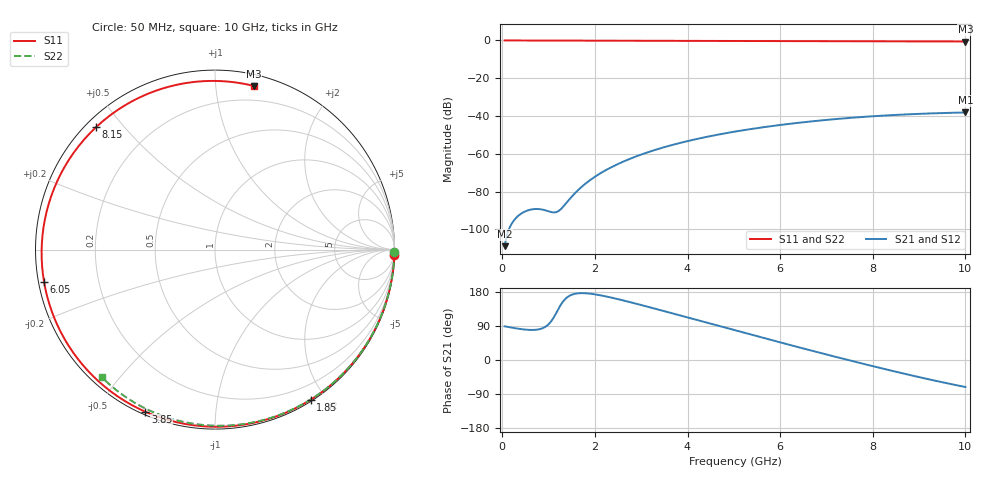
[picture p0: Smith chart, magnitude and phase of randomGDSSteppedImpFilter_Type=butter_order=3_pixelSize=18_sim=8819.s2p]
! freq	dB(S11)	phase(S11)	dB(S12)	phase(S12)
!  dB(S21)	phase(S21)	dB(S22)	phase(S22)
!S-par simulation data
#  GHz  S  DB  R 50
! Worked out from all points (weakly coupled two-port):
!   200 points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, 50 MHz to 10 GHz, reference 50 ohm
!   highest |S21| = -38.10 dB at 10 GHz (marker M1); lowest = -108.9 dB at 50 MHz (marker M2)
!   lowest |S11| = -0.6 dB at 10 GHz (marker M3), VSWR 30.82, Z = 4.2 + j63 ohm
!   |S11| at or under -10 dB: nowhere
!   |S22| runs from -0.4 to 0.0 dB; largest |S21 - S12| = 0
!   S11 on the Smith chart (normalised r, x): 50 MHz: 0, -71; 1.85 GHz: 0.02, -1.82; 3.85 GHz: 0.01, -0.66; 6.05 GHz: 0.02, -0.09; 8.15 GHz: 0.03, +0.42; 10 GHz: 0.08, +1.26
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0.05  -0.00 -1.6  -108.86 89.0  -108.86 89.0  -0.00 -0.8
0.8  -0.03 -25.4  -89.26 81.2  -89.26 81.2  -0.02 -12.1
1.6  -0.06 -50.0  -80.07 175.4  -80.07 175.4  -0.03 -24.0
1.75  -0.07 -54.5  -76.70 176.4  -76.70 176.4  -0.03 -26.2
1.85  -0.07 -57.5  -74.74 175.6  -74.74 175.6  -0.04 -27.7
2.15  -0.08 -66.3  -69.83 170.0  -69.83 170.0  -0.04 -32.1
2.5  -0.09 -76.4  -65.35 160.5  -65.35 160.5  -0.05 -37.1
2.95  -0.11 -89.0  -60.81 146.7  -60.81 146.7  -0.06 -43.6
3.4  -0.13 -101.3  -57.17 132.1  -57.17 132.1  -0.07 -49.9
3.85  -0.15 -113.2  -54.16 117.2  -54.16 117.2  -0.08 -56.1
4.4  -0.17 -127.5  -51.09 98.9  -51.09 98.9  -0.09 -63.6
5.05  -0.21 -144.0  -48.13 77.4  -48.13 77.4  -0.11 -72.2
5.55  -0.24 -156.7  -46.22 61.0  -46.22 61.0  -0.13 -78.7
6.05  -0.27 -169.4  -44.57 44.8  -44.57 44.8  -0.15 -85.0
6.7  -0.32 173.9  -42.77 24.0  -42.77 24.0  -0.18 -93.1
7.4  -0.38 155.2  -41.19 2.1  -41.19 2.1  -0.22 -101.5
8.15  -0.44 134.1  -39.88 -20.7  -39.88 -20.7  -0.27 -110.4
8.35  -0.45 128.3  -39.60 -26.6  -39.60 -26.6  -0.29 -112.7
8.8  -0.49 114.8  -39.05 -39.6  -39.05 -39.6  -0.32 -117.9
9.2  -0.51 102.5  -38.65 -50.7  -38.65 -50.7  -0.36 -122.4
9.6  -0.54 89.7  -38.34 -61.3  -38.34 -61.3  -0.40 -127.0
10  -0.56 76.8  -38.10 -71.3  -38.10 -71.3  -0.44 -131.5
